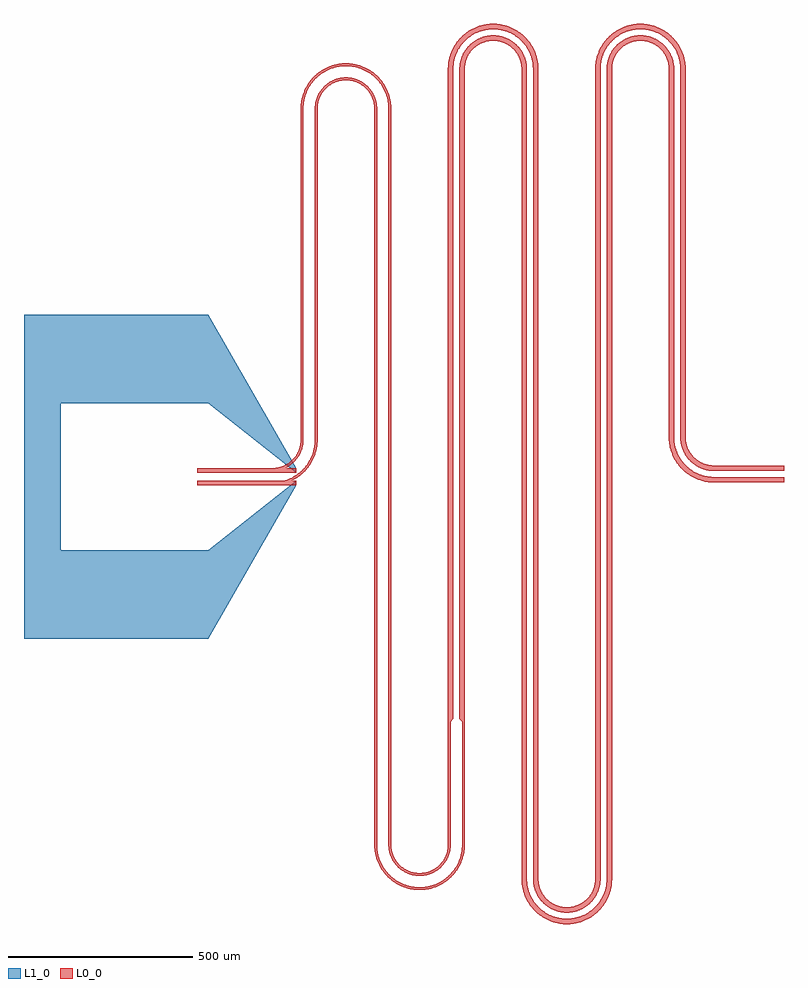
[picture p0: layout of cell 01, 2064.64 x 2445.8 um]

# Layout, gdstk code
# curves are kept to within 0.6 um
import gdstk
lib = gdstk.Library(unit=1e-6, precision=1e-09)
def R(c, l, rs):  # rectangles x0, y0, x1, y1
    for r in rs: c.add(gdstk.rectangle(r[:2], r[2:], *l))
def P(c, l, *ps):  # polygons
    for p in ps: c.add(gdstk.Polygon(p, *l))
L0_0 = (0, 0)
L1_0 = (1, 0)

c_01 = lib.new_cell('01')
R(c_01, L0_0, [(611.7,-1092.8,626.3,1107.2), (642.9,-1092.8,657.5,1107.2), (811.7,-1092.8,826.3,1107.2), (842.9,-1092.8,857.5,1107.2), (211.7,-1000,219.1,1000), (250.1,-1000,257.5,1000), (411.7,-1000,419.1,-665.4), (450.1,-1000,457.5,-665.4), (411.7,-658.2,426.3,1107.2), (442.9,-658.2,457.5,1107.2), (-270,-22.9,0,-10.9), (-265.4,-22.9,-65.4,-15.5), (1134.6,-15.7,1324.643,-1.1), (-270,10.9,0,22.9), (-265.4,15.5,-65.4,22.9), (1134.6,15.5,1324.643,30.1), (11.7,100,19.1,1000), (50.1,100,57.5,1000), (1011.7,107.2,1026.3,1107.2), (1042.9,107.2,1057.5,1107.2)])
P(c_01, L0_0, [(-270,22.9),(-270,10.9),(-265.4,15.5),(-265.4,22.9)],
  [(-270,-10.9),(-270,-22.9),(-265.4,-22.9),(-265.4,-15.5)],
  [(-65.4,15.5),(-48.39,17.23),(-32.077,22.348),(-17.128,30.645),(-5.649,40.249),(3.955,51.728),(12.252,66.677),(17.37,82.99),(19.1,100),(11.7,100),(10.122,84.48),(5.452,69.595),(-2.119,55.955),(-10.882,45.482),(-21.355,36.719),(-34.995,29.148),(-49.88,24.478),(-65.4,22.9)],
  [(-65.4,-22.9),(-52.966,-22.269),(-40.66,-20.384),(-28.608,-17.264),(-16.934,-12.94),(-5.756,-7.457),(4.809,-0.872),(21.503,13.097),(35.472,29.791),(42.057,40.356),(47.54,51.534),(51.864,63.208),(54.984,75.26),(56.869,87.566),(57.5,100),(50.1,100),(47.736,76.75),(40.74,54.452),(31.039,36.441),(16.271,18.329),(-1.841,3.561),(-19.852,-6.14),(-42.15,-13.136),(-65.4,-15.5)],
  [(50.1,1000),(51.469,1015.149),(56.326,1031.834),(64.492,1047.172),(74.085,1058.976),(87.428,1070.108),(100.762,1077.429),(117.315,1082.713),(134.6,1084.5),(134.6,1077.1),(120.777,1075.851),(105.554,1071.42),(91.559,1063.968),(80.789,1055.215),(70.632,1043.041),(63.18,1029.046),(58.749,1013.823),(57.5,1000)],
  [(11.7,1000),(13.691,1022.034),(16.598,1034.349),(20.755,1046.3),(30.9,1065.96),(38.232,1076.273),(46.585,1085.777),(55.871,1094.373),(65.992,1101.967),(76.84,1108.481),(88.3,1113.845),(100.251,1118.002),(112.566,1120.909),(134.6,1122.9),(134.6,1115.5),(113.893,1113.629),(102.319,1110.897),(91.088,1106.99),(80.318,1101.949),(70.123,1095.828),(53.987,1082.716),(45.91,1073.989),(38.772,1064.477),(28.765,1046.252),(24.571,1035.125),(21.542,1023.626),(19.712,1011.876),(19.1,1000)],
  [(134.6,1084.5),(149.749,1083.131),(166.434,1078.274),(181.772,1070.108),(193.576,1060.515),(204.708,1047.172),(212.029,1033.838),(217.313,1017.285),(219.1,1000),(211.7,1000),(210.451,1013.823),(206.02,1029.046),(198.568,1043.041),(189.815,1053.811),(177.641,1063.968),(163.646,1071.42),(148.423,1075.851),(134.6,1077.1)],
  [(134.6,1122.9),(156.634,1120.909),(168.949,1118.002),(180.9,1113.845),(200.56,1103.7),(210.873,1096.368),(220.377,1088.015),(228.973,1078.729),(236.567,1068.608),(243.081,1057.76),(248.445,1046.3),(252.602,1034.349),(255.509,1022.034),(257.5,1000),(250.1,1000),(248.229,1020.707),(245.497,1032.281),(241.59,1043.512),(236.549,1054.282),(230.428,1064.477),(217.316,1080.613),(208.589,1088.69),(199.077,1095.828),(180.852,1105.835),(169.725,1110.029),(158.226,1113.058),(146.476,1114.888),(134.6,1115.5)],
  [(250.1,-1000),(251.469,-1015.149),(256.326,-1031.834),(264.492,-1047.172),(274.085,-1058.976),(287.428,-1070.108),(300.762,-1077.429),(317.315,-1082.713),(334.6,-1084.5),(334.6,-1077.1),(320.777,-1075.851),(305.554,-1071.42),(291.559,-1063.968),(280.789,-1055.215),(270.632,-1043.041),(263.18,-1029.046),(258.749,-1013.823),(257.5,-1000)],
  [(211.7,-1000),(213.691,-1022.034),(216.598,-1034.349),(220.755,-1046.3),(230.9,-1065.96),(238.232,-1076.273),(246.585,-1085.777),(255.871,-1094.373),(265.992,-1101.967),(276.84,-1108.481),(288.3,-1113.845),(300.251,-1118.002),(312.566,-1120.909),(334.6,-1122.9),(334.6,-1115.5),(313.893,-1113.629),(302.319,-1110.897),(291.088,-1106.99),(280.318,-1101.949),(270.123,-1095.828),(253.987,-1082.716),(245.91,-1073.989),(238.772,-1064.477),(228.765,-1046.252),(224.571,-1035.125),(221.542,-1023.626),(219.712,-1011.876),(219.1,-1000)],
  [(334.6,-1084.5),(349.749,-1083.131),(366.434,-1078.274),(381.772,-1070.108),(393.576,-1060.515),(404.708,-1047.172),(412.029,-1033.838),(417.313,-1017.285),(419.1,-1000),(411.7,-1000),(410.451,-1013.823),(406.02,-1029.046),(398.568,-1043.041),(389.815,-1053.811),(377.641,-1063.968),(363.646,-1071.42),(348.423,-1075.851),(334.6,-1077.1)],
  [(334.6,-1122.9),(356.634,-1120.909),(368.949,-1118.002),(380.9,-1113.845),(400.56,-1103.7),(410.873,-1096.368),(420.377,-1088.015),(428.973,-1078.729),(436.567,-1068.608),(443.081,-1057.76),(448.445,-1046.3),(452.602,-1034.349),(455.509,-1022.034),(457.5,-1000),(450.1,-1000),(448.229,-1020.707),(445.497,-1032.281),(441.59,-1043.512),(436.549,-1054.282),(430.428,-1064.477),(417.316,-1080.613),(408.589,-1088.69),(399.077,-1095.828),(380.852,-1105.835),(369.725,-1110.029),(358.226,-1113.058),(346.476,-1114.888),(334.6,-1115.5)],
  [(411.7,-665.4),(419.1,-665.4),(426.3,-658.2),(411.7,-658.2)],
  [(450.1,-665.4),(457.5,-665.4),(457.5,-658.2),(442.9,-658.2)],
  [(442.9,1107.2),(444.839,1125.957),(449.656,1141.746),(457.226,1156.415),(468.929,1171.201),(483.409,1183.281),(500.054,1192.144),(515.843,1196.961),(534.6,1198.9),(534.6,1184.3),(520.777,1183.051),(505.554,1178.62),(491.559,1171.168),(480.789,1162.415),(470.632,1150.241),(463.18,1136.246),(458.749,1121.023),(457.5,1107.2)],
  [(411.7,1107.2),(413.691,1129.234),(416.598,1141.549),(420.755,1153.5),(430.9,1173.16),(438.232,1183.473),(446.585,1192.977),(455.871,1201.573),(465.992,1209.167),(476.84,1215.681),(488.3,1221.045),(500.251,1225.202),(512.566,1228.109),(534.6,1230.1),(534.6,1215.5),(512.447,1213.21),(493.8,1207.521),(474.142,1197.054),(459.013,1184.759),(444.746,1167.658),(434.279,1148),(428.59,1129.353),(426.3,1107.2)],
  [(534.6,1198.9),(553.357,1196.961),(569.146,1192.144),(583.815,1184.574),(598.601,1172.871),(610.681,1158.391),(619.544,1141.746),(624.361,1125.957),(626.3,1107.2),(611.7,1107.2),(610.451,1121.023),(606.02,1136.246),(598.568,1150.241),(589.815,1161.011),(577.641,1171.168),(563.646,1178.62),(548.423,1183.051),(534.6,1184.3)],
  [(534.6,1230.1),(556.634,1228.109),(568.949,1225.202),(580.9,1221.045),(600.56,1210.9),(610.873,1203.568),(620.377,1195.215),(628.973,1185.929),(636.567,1175.808),(643.081,1164.96),(648.445,1153.5),(652.602,1141.549),(655.509,1129.234),(657.5,1107.2),(642.9,1107.2),(640.61,1129.353),(634.921,1148),(624.454,1167.658),(612.159,1182.787),(595.058,1197.054),(575.4,1207.521),(556.753,1213.21),(534.6,1215.5)],
  [(642.9,-1092.8),(644.839,-1111.557),(649.656,-1127.346),(657.226,-1142.015),(668.929,-1156.801),(683.409,-1168.881),(700.054,-1177.744),(715.843,-1182.561),(734.6,-1184.5),(734.6,-1169.9),(720.777,-1168.651),(705.554,-1164.22),(691.559,-1156.768),(680.789,-1148.015),(670.632,-1135.841),(663.18,-1121.846),(658.749,-1106.623),(657.5,-1092.8)],
  [(611.7,-1092.8),(613.691,-1114.834),(616.598,-1127.149),(620.755,-1139.1),(630.9,-1158.76),(638.232,-1169.073),(646.585,-1178.577),(655.871,-1187.173),(665.992,-1194.767),(676.84,-1201.281),(688.3,-1206.645),(700.251,-1210.802),(712.566,-1213.709),(734.6,-1215.7),(734.6,-1201.1),(712.447,-1198.81),(693.8,-1193.121),(674.142,-1182.654),(659.013,-1170.359),(644.746,-1153.258),(634.279,-1133.6),(628.59,-1114.953),(626.3,-1092.8)],
  [(734.6,-1184.5),(753.357,-1182.561),(769.146,-1177.744),(783.815,-1170.174),(798.601,-1158.471),(810.681,-1143.991),(819.544,-1127.346),(824.361,-1111.557),(826.3,-1092.8),(811.7,-1092.8),(810.451,-1106.623),(806.02,-1121.846),(798.568,-1135.841),(789.815,-1146.611),(777.641,-1156.768),(763.646,-1164.22),(748.423,-1168.651),(734.6,-1169.9)],
  [(734.6,-1215.7),(756.634,-1213.709),(768.949,-1210.802),(780.9,-1206.645),(800.56,-1196.5),(810.873,-1189.168),(820.377,-1180.815),(828.973,-1171.529),(836.567,-1161.408),(843.081,-1150.56),(848.445,-1139.1),(852.602,-1127.149),(855.509,-1114.834),(857.5,-1092.8),(842.9,-1092.8),(840.61,-1114.953),(834.921,-1133.6),(824.454,-1153.258),(812.159,-1168.387),(795.058,-1182.654),(775.4,-1193.121),(756.753,-1198.81),(734.6,-1201.1)],
  [(842.9,1107.2),(844.839,1125.957),(849.656,1141.746),(857.226,1156.415),(868.929,1171.201),(883.409,1183.281),(900.054,1192.144),(915.843,1196.961),(934.6,1198.9),(934.6,1184.3),(920.777,1183.051),(905.554,1178.62),(891.559,1171.168),(880.789,1162.415),(870.632,1150.241),(863.18,1136.246),(858.749,1121.023),(857.5,1107.2)],
  [(811.7,1107.2),(813.691,1129.234),(816.598,1141.549),(820.755,1153.5),(830.9,1173.16),(838.232,1183.473),(846.585,1192.977),(855.871,1201.573),(865.992,1209.167),(876.84,1215.681),(888.3,1221.045),(900.251,1225.202),(912.566,1228.109),(934.6,1230.1),(934.6,1215.5),(912.447,1213.21),(893.8,1207.521),(874.142,1197.054),(859.013,1184.759),(844.746,1167.658),(834.279,1148),(828.59,1129.353),(826.3,1107.2)],
  [(934.6,1198.9),(953.357,1196.961),(969.146,1192.144),(983.815,1184.574),(998.601,1172.871),(1010.681,1158.391),(1019.544,1141.746),(1024.361,1125.957),(1026.3,1107.2),(1011.7,1107.2),(1010.451,1121.023),(1006.02,1136.246),(998.568,1150.241),(989.815,1161.011),(977.641,1171.168),(963.646,1178.62),(948.423,1183.051),(934.6,1184.3)],
  [(934.6,1230.1),(956.634,1228.109),(968.949,1225.202),(980.9,1221.045),(1000.56,1210.9),(1010.873,1203.568),(1020.377,1195.215),(1028.973,1185.929),(1036.567,1175.808),(1043.081,1164.96),(1048.445,1153.5),(1052.602,1141.549),(1055.509,1129.234),(1057.5,1107.2),(1042.9,1107.2),(1040.61,1129.353),(1034.921,1148),(1024.454,1167.658),(1012.159,1182.787),(995.058,1197.054),(975.4,1207.521),(956.753,1213.21),(934.6,1215.5)],
  [(1042.9,107.2),(1044.338,91.022),(1049.443,73.184),(1058.033,56.738),(1069.758,42.358),(1084.138,30.633),(1100.584,22.043),(1118.422,16.938),(1134.6,15.5),(1134.6,30.1),(1119.08,31.678),(1104.195,36.348),(1090.555,43.919),(1080.082,52.682),(1071.319,63.155),(1063.748,76.795),(1059.078,91.68),(1057.5,107.2)],
  [(1011.7,107.2),(1012.331,94.766),(1014.216,82.46),(1017.336,70.408),(1021.66,58.734),(1027.143,47.556),(1033.728,36.991),(1047.697,20.297),(1064.391,6.328),(1074.956,-0.257),(1086.134,-5.74),(1097.808,-10.064),(1109.86,-13.184),(1122.166,-15.069),(1134.6,-15.7),(1134.6,-1.1),(1112.799,1.117),(1091.891,7.677),(1072.732,18.311),(1058.02,30.62),(1045.711,45.332),(1035.077,64.491),(1028.517,85.399),(1026.3,107.2)])
P(c_01, L1_0, [(0,10.9),(-240,200),(-640,200),(-640,-200),(-240,-200),(0,-10.9),(0,-22.9),(-240,-440),(-740,-440),(-740,440),(-240,440),(0,22.9)])

lib.write_gds('01.gds')
